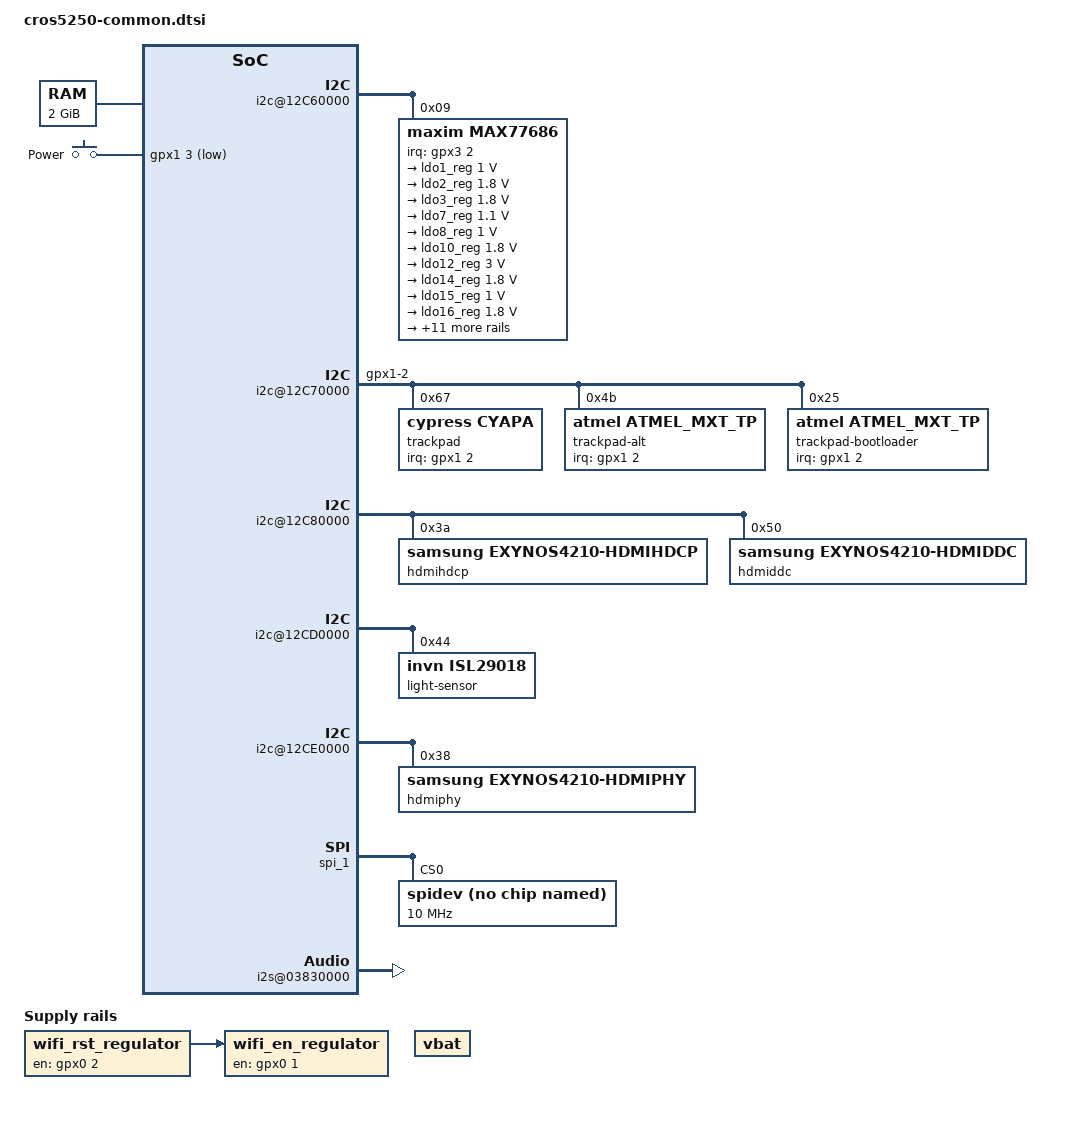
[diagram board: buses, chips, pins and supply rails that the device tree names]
/*
 * Common device tree include for all Exynos 5250 boards based off of Daisy.
 *
 * Copyright (c) 2012 Google, Inc
 *
 * This program is free software; you can redistribute it and/or modify
 * it under the terms of the GNU General Public License version 2 as
 * published by the Free Software Foundation.
*/

/ {
	aliases {
	};

	memory {
		reg = <0x40000000 0x80000000>;
	};

	ramoops {
		compatible = "ramoops";
		reg = <0x41f00000 0x00100000>;
		record-size = <0x00020000>;
		dump-oops;
	};

	chosen {
	};

	firmware {
		chromeos {
			write-protect-gpio = <&gpd1 6 1>;

			pinctrl-names = "default";
			pinctrl-0 = <&wp_gpio>;

			nonvolatile-context-storage = "disk";
			chromeos-vbc-blk = <&dwmmc_0 0 0 16>;
			chromeos-vbc-ec = <&ec>;
		};
	};

	pinctrl@11400000 {
		/*
		 * Disabled pullups since external part has its own pullups and
		 * double-pulling gets us out of spec in some cases.
		 */
		i2c2_bus: i2c2-bus {
			samsung,pin-pud = <0>;
		};

		trackpad_irq: trackpad-irq {
			samsung,pins = "gpx1-2";
			samsung,pin-function = <0>;
			samsung,pin-pud = <0>;
			samsung,pin-drv = <0>;
		};

		hdmi_hpd_irq: hdmi-hpd-irq {
			samsung,pins = "gpx3-7";
			samsung,pin-function = <0>;
			samsung,pin-pud = <1>;
			samsung,pin-drv = <0>;
		};

		max77686_irq: max77686-irq {
			samsung,pins = "gpx3-2";
			samsung,pin-function = <0>;
			samsung,pin-pud = <0>;
			samsung,pin-drv = <0>;
		};

		power_key_irq: power-key-irq {
			samsung,pins = "gpx1-3";
			samsung,pin-function = <0>;
			samsung,pin-pud = <0>;
			samsung,pin-drv = <0>;
		};

		sd_wp: sd-wp {
			samsung,pins = "gpc2-1";
			samsung,pin-function = <0>;
			samsung,pin-pud = <0>;
			samsung,pin-drv = <0>;
		};

		spi_cs: spi-cs {
			samsung,pins = "gpa2-5";
			samsung,pin-function = <1>;
			samsung,pin-pud = <0>;
			samsung,pin-drv = <3>;
		};

		wifi_en: wifi-en {
			samsung,pins = "gpx0-1";
			samsung,pin-function = <1>;
			samsung,pin-pud = <0>;
			samsung,pin-drv = <0>;
		};

		wifi_rst: wifi-rst {
			samsung,pins = "gpx0-2";
			samsung,pin-function = <1>;
			samsung,pin-pud = <0>;
			samsung,pin-drv = <0>;
		};

		wp_gpio: wp-gpio {
			samsung,pins = "gpd1-6";
			samsung,pin-function = <0>;
			samsung,pin-pud = <0>;
			samsung,pin-drv = <0>;
		};

		mic_det_gpio: mic-det-gpio {
			samsung,pins = "gpx2-0";
			samsung,pin-function = <0>;
			samsung,pin-pud = <0>;
			samsung,pid-drv = <0>;
		};

		hp_det_gpio: hp-det-gpio {
			samsung,pins = "gpx2-2";
			samsung,pin-function = <0>;
			samsung,pin-pud = <0>;
			samsung,pin-drv = <0>;
		};
	};

	pinctrl@13400000 {
		hsic_reset: hsic-reset {
			samsung,pins = "gpe1-0";
			samsung,pin-function = <1>;
			samsung,pin-pud = <0>;
			samsung,pin-drv = <0>;
		};

	};

	i2c@12C60000 {
		samsung,i2c-sda-delay = <100>;
		samsung,i2c-max-bus-freq = <378000>;

		max77686@09 {
			compatible = "maxim,max77686";
			interrupt-parent = <&gpx3>;
			interrupts = <2 0>;
			pinctrl-names = "default";
			pinctrl-0 = <&max77686_irq>;
			wakeup-source;
			reg = <0x09>;
			#address-cells = <1>;
			#size-cells = <0>;

			voltage-regulators {
				ldo1_reg: LDO1 {
					regulator-name = "P1.0V_LDO_OUT1";
					regulator-min-microvolt = <1000000>;
					regulator-max-microvolt = <1000000>;
					regulator-always-on;
					/* Output ON/LPM controlled by PWRREQ */
					regulator-op-mode = <2>;
				};

				ldo2_reg: LDO2 {
					regulator-name = "P1.8V_LDO_OUT2";
					regulator-min-microvolt = <1800000>;
					regulator-max-microvolt = <1800000>;
					regulator-always-on;
					/* Output ON/OFF controlled by PWRREQ */
					regulator-op-mode = <1>;
				};

				ldo3_reg: LDO3 {
					regulator-name = "P1.8V_LDO_OUT3";
					regulator-min-microvolt = <1800000>;
					regulator-max-microvolt = <1800000>;
					regulator-always-on;
					/* Output ON/LPM controlled by PWRREQ */
					regulator-op-mode = <2>;
				};

				ldo7_reg: LDO7 {
					regulator-name = "P1.1V_LDO_OUT7";
					regulator-min-microvolt = <1100000>;
					regulator-max-microvolt = <1100000>;
					regulator-always-on;
					/* Output ON/OFF controlled by PWRREQ */
					regulator-op-mode = <1>;
				};

				ldo8_reg: LDO8 {
					regulator-name = "P1.0V_LDO_OUT8";
					regulator-min-microvolt = <1000000>;
					regulator-max-microvolt = <1000000>;
					regulator-always-on;
					/* Output ON/OFF controlled by PWRREQ */
					regulator-op-mode = <1>;
				};

				ldo10_reg: LDO10 {
					regulator-name = "P1.8V_LDO_OUT10";
					regulator-min-microvolt = <1800000>;
					regulator-max-microvolt = <1800000>;
					regulator-always-on;
					/* Output ON/OFF controlled by PWRREQ */
					regulator-op-mode = <1>;
				};

				ldo12_reg: LDO12 {
					regulator-name = "P3.0V_LDO_OUT12";
					regulator-min-microvolt = <3000000>;
					regulator-max-microvolt = <3000000>;
					regulator-always-on;
					/* Output ON/OFF controlled by PWRREQ */
					regulator-op-mode = <1>;
				};

				ldo14_reg: LDO14 {
					regulator-name = "P1.8V_LDO_OUT14";
					regulator-min-microvolt = <1800000>;
					regulator-max-microvolt = <1800000>;
					regulator-always-on;
					/* Output ON/OFF controlled by PWRREQ */
					regulator-op-mode = <1>;
				};

				ldo15_reg: LDO15 {
					regulator-name = "P1.0V_LDO_OUT15";
					regulator-min-microvolt = <1000000>;
					regulator-max-microvolt = <1000000>;
					regulator-always-on;
					/* Output ON/OFF controlled by PWRREQ */
					regulator-op-mode = <1>;
				};

				ldo16_reg: LDO16 {
					regulator-name = "P1.8V_LDO_OUT16";
					regulator-min-microvolt = <1800000>;
					regulator-max-microvolt = <1800000>;
					regulator-always-on;
					/* Output ON/OFF controlled by PWRREQ */
					regulator-op-mode = <1>;
				};

				buck1_reg: BUCK1 {
					regulator-name = "vdd_mif";
					regulator-min-microvolt = <950000>;
					regulator-max-microvolt = <1300000>;
					regulator-always-on;
					regulator-boot-on;
					/* Output ON/OFF controlled by PWRREQ */
					regulator-op-mode = <1>;
				};

				buck2_reg: BUCK2 {
					regulator-name = "vdd_arm";
					regulator-min-microvolt = <850000>;
					regulator-max-microvolt = <1350000>;
					regulator-always-on;
					regulator-boot-on;
					/* Output ON/OFF controlled by PWRREQ */
					regulator-op-mode = <1>;
				};

				buck3_reg: BUCK3 {
					regulator-name = "vdd_int";
					regulator-min-microvolt = <900000>;
					regulator-max-microvolt = <1200000>;
					regulator-always-on;
					regulator-boot-on;
					/* Output ON/OFF controlled by PWRREQ */
					regulator-op-mode = <1>;
				};

				buck4_reg: BUCK4 {
					regulator-name = "vdd_g3d";
					regulator-min-microvolt = <850000>;
					regulator-max-microvolt = <1300000>;
					regulator-always-on;
					regulator-boot-on;
					/* Output ON/OFF controlled by PWRREQ */
					regulator-op-mode = <1>;
				};

				buck5_reg: BUCK5 {
					regulator-name = "P1.8V_BUCK_OUT5";
					regulator-min-microvolt = <1800000>;
					regulator-max-microvolt = <1800000>;
					regulator-always-on;
					regulator-boot-on;
					/* Output ON */
					regulator-op-mode = <3>;
				};

				buck6_reg: BUCK6 {
					regulator-name = "P1.35V_BUCK_OUT6";
					regulator-min-microvolt = <1350000>;
					regulator-max-microvolt = <1350000>;
					regulator-always-on;
					/* Output ON */
					regulator-op-mode = <3>;
				};

				buck7_reg: BUCK7 {
					regulator-name = "P2.0V_BUCK_OUT7";
					regulator-min-microvolt = <2000000>;
					regulator-max-microvolt = <2000000>;
					regulator-always-on;
					/* Output ON */
					regulator-op-mode = <3>;
				};

				buck8_reg: BUCK8 {
					regulator-name = "P2.85V_BUCK_OUT8";
					regulator-min-microvolt = <2850000>;
					regulator-max-microvolt = <2850000>;
					regulator-always-on;
					/* Output OFF of ENB8 is low */
					regulator-op-mode = <1>;
				};

				en32khz_ap: EN32KHZ_AP {
					regulator-name = "en32khz_ap";
					regulator-always-on;
				};

				en32khz_cp: EN32KHZ_CP {
					regulator-name = "en32khz_cp";
					regulator-always-on;
				};

				p32khz: P32KHZ {
					regulator-name = "p32khz";
					regulator-always-on;
				};
			};

			maxim_rtc: rtc {
				reg = <0x6>;
			};
		};
	};

	i2c@12C70000 {
		samsung,i2c-sda-delay = <100>;
		samsung,i2c-max-bus-freq = <378000>;

		/*
		 * TODO: for now config the IRQ at the i2c level since
		 * pinctrl can't handle sharing it between two children, even
		 * if one fails to probe.
		 * See crosbug.com/p/20329
		 */
		pinctrl-names = "default";
		pinctrl-0 = <&i2c1_bus &trackpad_irq>;

		trackpad {
			reg = <0x67>;
			compatible = "cypress,cyapa";
			interrupts = <2 0>;
			interrupt-parent = <&gpx1>;
			wakeup-source;
		};
		trackpad-alt {
			reg = <0x4b>;
			compatible = "atmel,atmel_mxt_tp";
			interrupts = <2 0>;
			interrupt-parent = <&gpx1>;
			wakeup-source;
		};
		trackpad-bootloader {
			reg = <0x25>;
			compatible = "atmel,atmel_mxt_tp";
			interrupts = <2 0>;
			interrupt-parent = <&gpx1>;
			wakeup-source;
		};
	};

	i2c@12C80000 {
		samsung,i2c-sda-delay = <100>;
		samsung,i2c-max-bus-freq = <66000>;

		hdmihdcp@3a {
			compatible = "samsung,exynos4210-hdmihdcp";
			reg = <0x3a>;
		};

		hdmiddc@50 {
			compatible = "samsung,exynos4210-hdmiddc";
			reg = <0x50>;
		};
	};

	i2c@12C90000 {
		samsung,i2c-sda-delay = <100>;
		samsung,i2c-max-bus-freq = <66000>;
	};

	i2c@12CA0000 {
		samsung,i2c-sda-delay = <100>;
		samsung,i2c-max-bus-freq = <66000>;

		/*
		 * No children can directly under i2c4 in cros5250-common since
		 * devices on exynos5250-snow that are on i2c4 need to go under
		 * the mux node (i2c_104).
		 */
	};

	i2c@12CB0000 {
		samsung,i2c-sda-delay = <100>;
		samsung,i2c-max-bus-freq = <66000>;
	};

	i2c@12CC0000 {
		status = "disabled";
	};

	i2c@12CD0000 {
		samsung,i2c-sda-delay = <100>;
		samsung,i2c-max-bus-freq = <66000>;

		light-sensor {
			compatible = "invn,isl29018";
			reg = <0x44>;
		};
	};

	i2c@12CE0000 {
		samsung,i2c-sda-delay = <100>;
		samsung,i2c-max-bus-freq = <378000>;

		hdmiphy@38 {
			compatible = "samsung,exynos4210-hdmiphy";
			reg = <0x38>;
		};
	};

	dwmmc0@12200000 {
		num-slots = <1>;
		supports-highspeed;
		broken-cd;
		non-removable;
		fifo-depth = <0x80>;
		card-detect-delay = <200>;
		samsung,dw-mshc-ciu-div = <3>;
		samsung,dw-mshc-sdr-timing = <2 3>;
		samsung,dw-mshc-ddr-timing = <1 2>;
		pinctrl-names = "default";
		pinctrl-0 = <&sd0_clk &sd0_cmd &sd0_cd &sd0_bus4 &sd0_bus8>;

		slot@0 {
			reg = <0>;
			bus-width = <8>;
		};
	};

	dwmmc1@12210000 {
		status = "disabled";
	};

	dwmmc2@12220000 {
		num-slots = <1>;
		supports-highspeed;
		fifo-depth = <0x80>;
		card-detect-delay = <200>;
		samsung,dw-mshc-ciu-div = <3>;
		samsung,dw-mshc-sdr-timing = <2 3>;
		samsung,dw-mshc-ddr-timing = <1 2>;
		pinctrl-names = "default";
		pinctrl-0 = <&sd2_clk &sd2_cmd &sd2_cd &sd2_bus4 &sd_wp>;

		slot@0 {
			reg = <0>;
			bus-width = <4>;
			wp-gpios = <&gpc2 1 0>;
		};
	};

	dwmmc3@12230000 {
		num-slots = <1>;
		supports-highspeed;
		broken-cd;
		keep-power-in-suspend;
		/* non-removable NOT set so mwifiex driver can use reset trick */
		fifo-depth = <0x80>;
		card-detect-delay = <200>;
		samsung,dw-mshc-ciu-div = <3>;
		samsung,dw-mshc-sdr-timing = <2 3>;
		samsung,dw-mshc-ddr-timing = <1 2>;
		/* See board-specific dts files for pin setup */

		slot@0 {
			reg = <0>;
			bus-width = <4>;
		};
	};

	spi_0: spi@12d20000 {
		status = "disabled";
	};

	spi_1: spi@12d30000 {
		samsung,spi-src-clk = <0>;
		num-cs = <1>;

		spidev@0 {
			compatible = "spidev";
			reg = <0>;
			spi-max-frequency = <10000000>;
			pinctrl-names = "default";
			pinctrl-0 = <&spi_cs>;

			controller-data {
				cs-gpio = <&gpa2 5 0>;
				samsung,spi-feedback-delay = <2>;
			};
		};
	};

	spi_2: spi@12d40000 {
		status = "disabled";
	};

	codec@11000000 {
		samsung,mfc-r = <0x43000000 0x800000>;
		samsung,mfc-l = <0x51000000 0x800000>;
	};

	hdmi {
		hpd-gpio = <&gpx3 7 0>;
		pinctrl-names = "default";
		pinctrl-0 = <&hdmi_hpd_irq>;
	};

	/* Chain regulators to ensure proper Wifi turn on sequence */
	wifi_rst_regulator: wifi-rst-regulator {
		compatible = "regulator-fixed";
		regulator-name = "wifi-rst-l";
		gpio = <&gpx0 2 0>;
		enable-active-high;
		startup-delay-us = <1500>;
		pinctrl-names = "default";
		pinctrl-0 = <&wifi_rst>;

		/*
		 * Technically we should have a vin-supply of the 32k clock.
		 * ...but that causes a deferred probe of this regulator
		 * despite the fact that we don't need to enable it until
		 * much later.  Skip the dependency since we know that the
		 * 32k clock will always be kept on from early boot.
		 *
		 * vin-supply = <&en32khz_cp>;
		 */
	};
	wifi_en_regulator: wifi-en-regulator {
		compatible = "regulator-fixed";
		regulator-name = "wifi-en";
		gpio = <&gpx0 1 0>;
		enable-active-high;
		pinctrl-names = "default";
		pinctrl-0 = <&wifi_en>;
		vin-supply = <&wifi_rst_regulator>;
	};

	gpio-keys {
		compatible = "gpio-keys";
		pinctrl-names = "default";
		pinctrl-0 = <&power_key_irq>;

		power {
			label = "Power";
			gpios = <&gpx1 3 1>;
			linux,code = <116>; /* KEY_POWER */
			gpio-key,wakeup;
		};
	};

	i2s@03830000 {
		status = "okay";
	};

	sound {
		/* compatible string defined in sub-boards */

		samsung,i2s-controller = <&i2s0>;
		samsung,mic-det-gpios = <&gpx2 0 1>;
		samsung,hp-det-gpios = <&gpx2 2 0>;
		clocks = <&clock 3>, <&clock 4>, <&clock 1026>,
			<&clock 138>, <&clock_audss EXYNOS_MOUT_AUDSS>,
			<&clock_audss EXYNOS_MOUT_I2S>;
		clock-names = "fout_epll", "sclk_epll", "mout_audio0",
			"sclk_audio0", "mout_audss", "mout_i2s";
		pinctrl-names = "default";
		pinctrl-0 = <&mic_det_gpio &hp_det_gpio>;
	};

	usb2_phy: usbphy@12130000 {
		samsung,hsic-reset-gpio = <&gpe1 0 1>;
		pinctrl-names = "default";
		pinctrl-0 = <&hsic_reset>;
	};

	vbat: vbat-fixed-regulator {
		compatible = "regulator-fixed";
		regulator-name = "vbat-supply";
		regulator-boot-on;
	};

	/*
	 * Use longest HW watchdog in SoC (32 seconds) since the hardware
	 * watchdog provides no debugging information (compared to soft/hard
	 * lockup detectors) and so should be last resort.
	 */
	watchdog@101D0000 {
		timeout-sec = <32>;
	};
};
